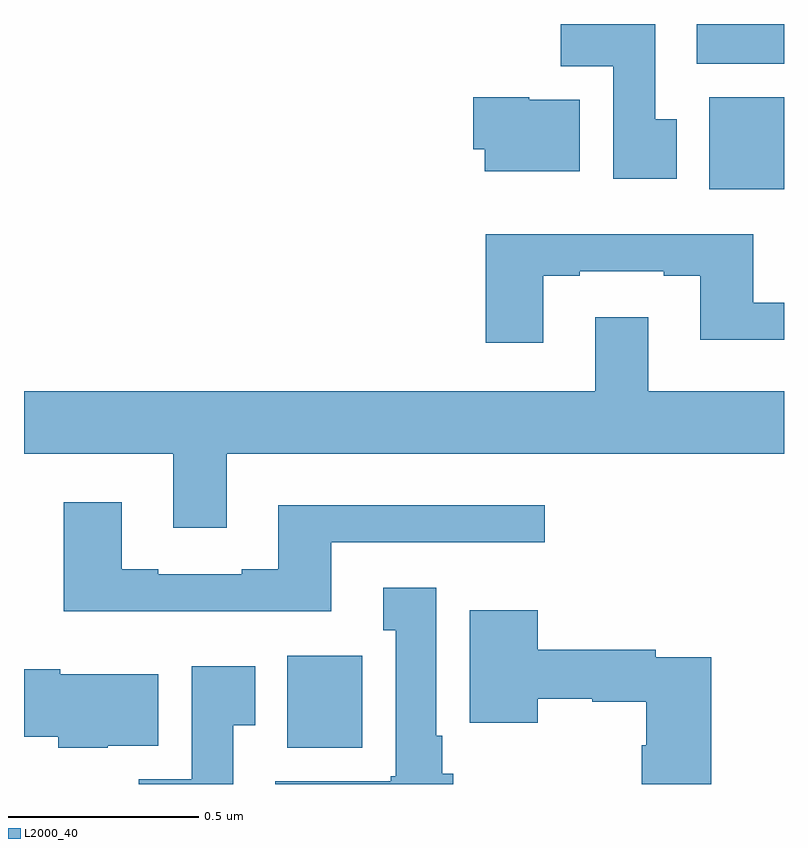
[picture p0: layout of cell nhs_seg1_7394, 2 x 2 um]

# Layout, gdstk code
import gdstk
lib = gdstk.Library(unit=1e-6, precision=1e-09)
def R(c, l, rs):  # rectangles x0, y0, x1, y1
    for r in rs: c.add(gdstk.rectangle(r[:2], r[2:], *l))
def P(c, l, *ps):  # polygons
    for p in ps: c.add(gdstk.Polygon(p, *l))
L2000_40 = (2000, 40)

nhs_seg1_7394 = lib.new_cell('nhs_seg1_7394')
R(nhs_seg1_7394, L2000_40, [(203.693,548.294,203.89,548.536), (204.803,549.764,205,550.006), (204.771,550.094,205,550.199)])
P(nhs_seg1_7394, L2000_40, [(204.718,549.948),(204.661,549.948),(204.661,550.199),(204.412,550.199),(204.412,550.088),(204.551,550.088),(204.551,549.792),(204.718,549.792)],
  [(204.463,550),(204.33,550),(204.33,550.006),(204.182,550.006),(204.182,549.87),(204.212,549.87),(204.212,549.812),(204.463,549.812)],
  [(204.367,549.537),(204.463,549.537),(204.463,549.549),(204.683,549.549),(204.683,549.537),(204.779,549.537),(204.779,549.368),(205,549.368),(205,549.465),(204.919,549.465),(204.919,549.646),(204.215,549.646),(204.215,549.36),(204.367,549.36)],
  [(203.533,549.068),(205,549.068),(205,549.232),(204.643,549.232),(204.643,549.427),(204.503,549.427),(204.503,549.232),(203,549.232),(203,549.068),(203.393,549.068),(203.393,548.874),(203.533,548.874)],
  [(203.809,548.835),(204.37,548.835),(204.37,548.932),(203.669,548.932),(203.669,548.764),(203.573,548.764),(203.573,548.751),(203.353,548.751),(203.353,548.764),(203.257,548.764),(203.257,548.941),(203.105,548.941),(203.105,548.654),(203.809,548.654)],
  [(204.13,548.226),(204.1,548.226),(204.1,548.326),(204.085,548.326),(204.085,548.716),(203.945,548.716),(203.945,548.603),(203.978,548.603),(203.978,548.22),(203.965,548.22),(203.965,548.206),(203.661,548.206),(203.661,548.199),(204.13,548.199)],
  [(204.809,548.532),(204.662,548.532),(204.662,548.552),(204.352,548.552),(204.352,548.656),(204.173,548.656),(204.173,548.36),(204.352,548.36),(204.352,548.424),(204.495,548.424),(204.495,548.416),(204.638,548.416),(204.638,548.301),(204.626,548.301),(204.626,548.199),(204.809,548.199)],
  [(203.551,548.353),(203.608,548.353),(203.608,548.509),(203.441,548.509),(203.441,548.212),(203.302,548.212),(203.302,548.199),(203.551,548.199)],
  [(203.22,548.3),(203.353,548.3),(203.353,548.488),(203.095,548.488),(203.095,548.501),(203,548.501),(203,548.323),(203.09,548.323),(203.09,548.294),(203.22,548.294)])

lib.write_gds('nhs_seg1_7394.gds')
